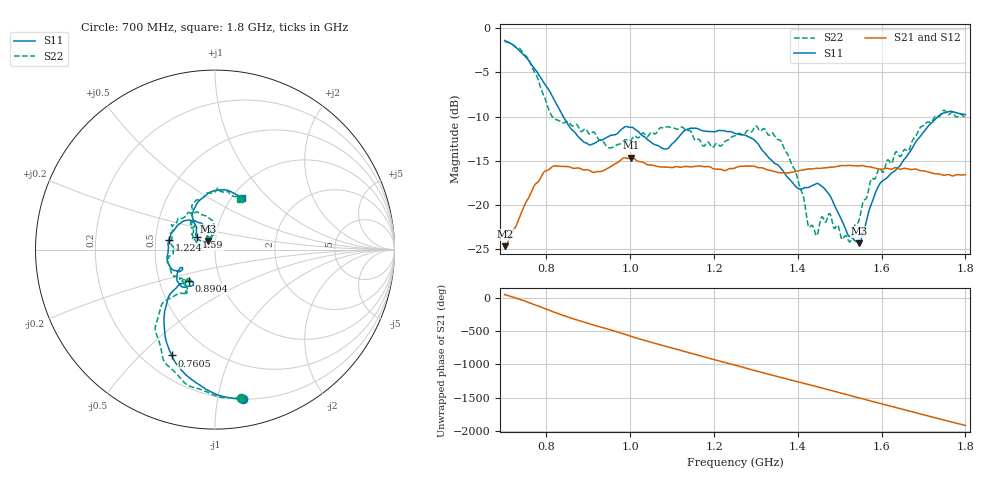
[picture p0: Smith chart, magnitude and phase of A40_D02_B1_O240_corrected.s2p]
! Created with skrf 1.9.0 (http://scikit-rf.org).
# Hz S RI R 50.0
!freq ReS11 ImS11 ReS21 ImS21 ReS12 ImS12 ReS22 ImS22
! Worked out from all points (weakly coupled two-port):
!   1601 points, 700 MHz to 1.8 GHz, reference 50 ohm
!   highest |S21| = -14.65 dB at 1.002 GHz (marker M1); lowest = -24.6 dB at 701.4 MHz (marker M2)
!   lowest |S11| = -24.3 dB at 1.546 GHz (marker M3), VSWR 1.13, Z = 46.3 + j4.52 ohm
!   |S11| at or under -10 dB: 840 MHz to 1.734 GHz (894.3 MHz wide, 69.5 % of centre)
!   |S22| runs from -24.2 to -1.5 dB; largest |S21 - S12| = 0.0034
!   S11 on the Smith chart (normalised r, x): 700 MHz: 0.20, -1.19; 760.5 MHz: 0.31, -0.62; 890.4 MHz: 0.71, -0.26; 1.224 GHz: 0.59, +0.07; 1.59 GHz: 0.81, +0.12; 1.8 GHz: 1.12, +0.71
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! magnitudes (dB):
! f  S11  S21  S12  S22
! 700 MHz  -1.4  -24.6  -24.4  -1.5
! 701.4 MHz  -1.4  -24.6  -24.3  -1.5
! 760.5 MHz  -3.9  -18.9  -18.8  -3.9
! 814.1 MHz  -7.7  -15.7  -15.7  -10.0
! 883.6 MHz  -12.6  -16.0  -15.9  -11.7
! 890.4 MHz  -12.9  -16.0  -16.0  -11.4
! 949.6 MHz  -12.2  -15.8  -15.8  -13.5
! 1.002 GHz  -11.2  -14.6  -14.8  -12.6
! 1.067 GHz  -13.3  -15.7  -15.6  -11.5
! 1.224 GHz  -11.6  -16.1  -16.1  -12.9
! 1.25 GHz  -11.9  -15.8  -15.7  -12.2
! 1.3 GHz  -12.8  -15.7  -15.7  -11.1
! 1.359 GHz  -15.8  -16.4  -16.3  -12.7
! 1.4 GHz  -18.1  -16.2  -16.2  -17.1
! 1.434 GHz  -17.8  -15.9  -15.9  -22.3
! 1.476 GHz  -18.8  -15.7  -15.7  -20.9
! 1.523 GHz  -23.5  -15.5  -15.5  -24.1
! 1.546 GHz  -24.3  -15.6  -15.5  -21.7
! 1.59 GHz  -18.1  -15.9  -15.9  -16.2
! 1.617 GHz  -16.7  -15.9  -15.9  -15.0
! 1.737 GHz  -9.9  -16.5  -16.5  -10.0
! 1.8 GHz  -9.8  -16.6  -16.6  -10.1
